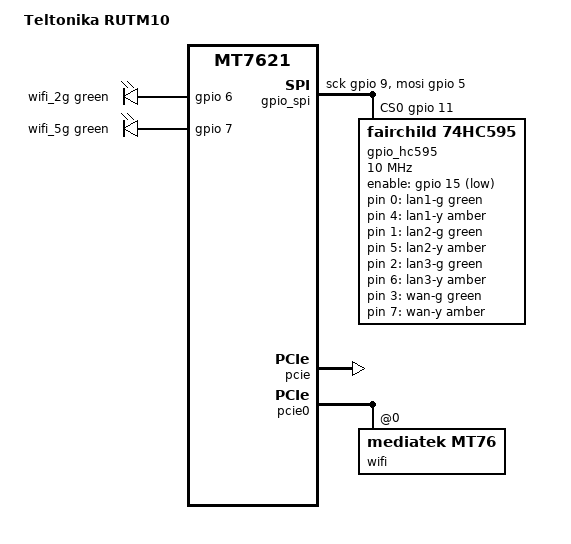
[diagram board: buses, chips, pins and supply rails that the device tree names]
// SPDX-License-Identifier: GPL-2.0-or-later OR MIT
/*
 * Teltonika RUTM10: GPIO and LED pin map from the hardware description
 * shipped in Teltonika RUTM_R_SDK_00.07.26.3.
 */

#include "mt7621_teltonika_rutm-common.dtsi"

/ {
	compatible = "teltonika,rutm10", "mediatek,mt7621-soc";
	model = "Teltonika RUTM10";

	gpio_spi {
		compatible = "spi-gpio";
		#address-cells = <1>;
		#size-cells = <0>;

		sck-gpios = <&gpio 9 GPIO_ACTIVE_HIGH>;
		mosi-gpios = <&gpio 5 GPIO_ACTIVE_HIGH>;
		cs-gpios = <&gpio 11 GPIO_ACTIVE_HIGH>;
		num-chipselects = <1>;

		gpio_hc595: gpio_hc595@0 {
			compatible = "fairchild,74hc595";
			reg = <0>;
			gpio-controller;
			#gpio-cells = <2>;
			registers-number = <2>;
			spi-max-frequency = <10000000>;
			enable-gpios = <&gpio 15 GPIO_ACTIVE_LOW>;
		};
	};

	leds {
		wifi_2g {
			function = LED_FUNCTION_WLAN_2GHZ;
			color = <LED_COLOR_ID_GREEN>;
			gpios = <&gpio 6 GPIO_ACTIVE_HIGH>;
			linux,default-trigger = "phy0tpt";
		};

		wifi_5g {
			function = LED_FUNCTION_WLAN_5GHZ;
			color = <LED_COLOR_ID_GREEN>;
			gpios = <&gpio 7 GPIO_ACTIVE_HIGH>;
			linux,default-trigger = "phy1tpt";
		};

		lan1-g {
			function = LED_FUNCTION_LAN;
			function-enumerator = <1>;
			color = <LED_COLOR_ID_GREEN>;
			gpios = <&gpio_hc595 0 GPIO_ACTIVE_HIGH>;
			linux,default-trigger = "mt7530-0:00:1Gbps";
		};

		lan1-y {
			function = LED_FUNCTION_LAN;
			function-enumerator = <1>;
			color = <LED_COLOR_ID_AMBER>;
			gpios = <&gpio_hc595 4 GPIO_ACTIVE_HIGH>;
			linux,default-trigger = "mt7530-0:00:100Mbps";
		};

		lan2-g {
			function = LED_FUNCTION_LAN;
			function-enumerator = <2>;
			color = <LED_COLOR_ID_GREEN>;
			gpios = <&gpio_hc595 1 GPIO_ACTIVE_HIGH>;
			linux,default-trigger = "mt7530-0:01:1Gbps";
		};

		lan2-y {
			function = LED_FUNCTION_LAN;
			function-enumerator = <2>;
			color = <LED_COLOR_ID_AMBER>;
			gpios = <&gpio_hc595 5 GPIO_ACTIVE_HIGH>;
			linux,default-trigger = "mt7530-0:01:100Mbps";
		};

		lan3-g {
			function = LED_FUNCTION_LAN;
			function-enumerator = <3>;
			color = <LED_COLOR_ID_GREEN>;
			gpios = <&gpio_hc595 2 GPIO_ACTIVE_HIGH>;
			linux,default-trigger = "mt7530-0:02:1Gbps";
		};

		lan3-y {
			function = LED_FUNCTION_LAN;
			function-enumerator = <3>;
			color = <LED_COLOR_ID_AMBER>;
			gpios = <&gpio_hc595 6 GPIO_ACTIVE_HIGH>;
			linux,default-trigger = "mt7530-0:02:100Mbps";
		};

		wan-g {
			function = LED_FUNCTION_WAN;
			color = <LED_COLOR_ID_GREEN>;
			gpios = <&gpio_hc595 3 GPIO_ACTIVE_HIGH>;
			linux,default-trigger = "mt7530-0:04:1Gbps";
		};

		wan-y {
			function = LED_FUNCTION_WAN;
			color = <LED_COLOR_ID_AMBER>;
			gpios = <&gpio_hc595 7 GPIO_ACTIVE_HIGH>;
			linux,default-trigger = "mt7530-0:04:100Mbps";
		};
	};
};

&switch0 {
	ports {
		port@0 {
			status = "okay";
			label = "lan1";
		};

		port@1 {
			status = "okay";
			label = "lan2";
		};

		port@2 {
			status = "okay";
			label = "lan3";
		};
	};
};

&pcie {
	status = "okay";
};

&pcie0 {
	wifi@0,0 {
		compatible = "mediatek,mt76";
		reg = <0x0000 0 0 0 0>;
		nvmem-cells = <&eeprom_factory_0>;
		nvmem-cell-names = "eeprom";
		#address-cells = <1>;
		#size-cells = <0>;

		band@0 {
			reg = <0>;
			nvmem-cells = <&macaddr_config_0 2>;
			nvmem-cell-names = "mac-address";
		};

		band@1 {
			reg = <1>;
			nvmem-cells = <&macaddr_config_0 3>;
			nvmem-cell-names = "mac-address";
		};
	};
};
